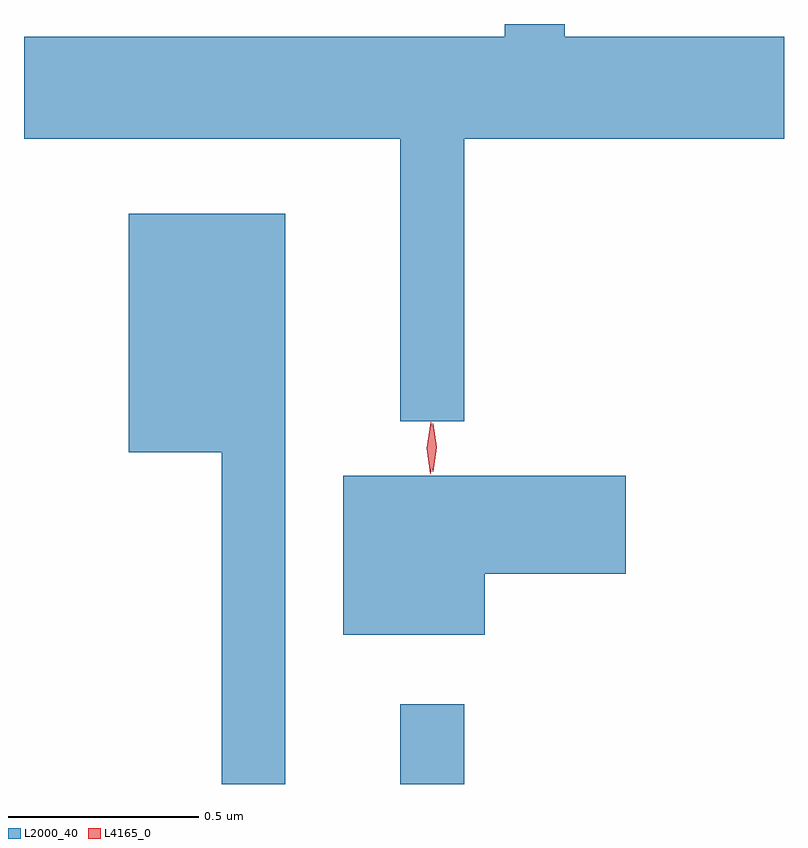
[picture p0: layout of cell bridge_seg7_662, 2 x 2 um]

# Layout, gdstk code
import gdstk
lib = gdstk.Library(unit=1e-6, precision=1e-09)
def R(c, l, rs):  # rectangles x0, y0, x1, y1
    for r in rs: c.add(gdstk.rectangle(r[:2], r[2:], *l))
def P(c, l, *ps):  # polygons
    for p in ps: c.add(gdstk.Polygon(p, *l))
L2000_40 = (2000, 40)
L4165_0 = (4165, 0)

bridge_seg7_662 = lib.new_cell('bridge_seg7_662')
R(bridge_seg7_662, L2000_40, [(716.251,1699.298,716.419,1699.508)])
P(bridge_seg7_662, L2000_40, [(716.419,1700.996),(717.261,1700.996),(717.261,1701.264),(716.684,1701.264),(716.684,1701.298),(716.526,1701.298),(716.526,1701.264),(715.261,1701.264),(715.261,1700.996),(716.251,1700.996),(716.251,1700.253),(716.419,1700.253)],
  [(715.949,1700.799),(715.536,1700.799),(715.536,1700.171),(715.781,1700.171),(715.781,1699.298),(715.949,1699.298)],
  [(716.474,1699.851),(716.844,1699.851),(716.844,1700.109),(716.101,1700.109),(716.101,1699.691),(716.474,1699.691)])
P(bridge_seg7_662, L4165_0, [(716.337,1700.12),(716.337,1700.12),(716.327,1700.184),(716.337,1700.246),(716.337,1700.247),(716.338,1700.246),(716.347,1700.184),(716.338,1700.12)],
  [(716.33,1700.114),(716.321,1700.182),(716.332,1700.25),(716.332,1700.25),(716.333,1700.25),(716.341,1700.182),(716.331,1700.114),(716.331,1700.114)])

lib.write_gds('bridge_seg7_662.gds')
